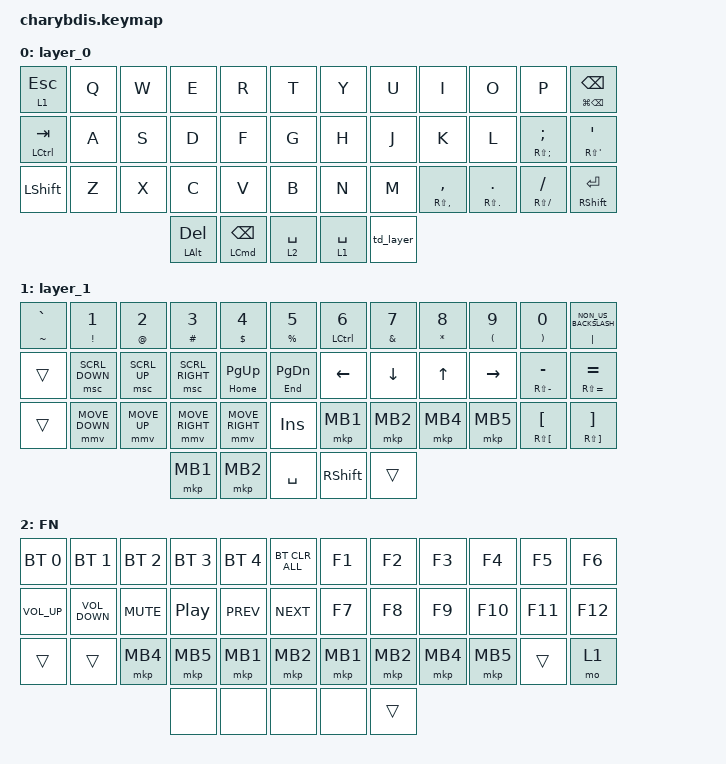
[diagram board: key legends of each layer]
#include <behaviors.dtsi>
#include <dt-bindings/zmk/bt.h>
#include <dt-bindings/zmk/keys.h>
#include <dt-bindings/zmk/pointing.h>
#include <dt-bindings/zmk/rgb.h>

&lt {
    tapping-term-ms = <200>;
    flavor = "balanced";
    quick-tap-ms = <150>;
};

&mt {
    tapping-term-ms = <220>;
    flavor = "tap-preferred";
};

/ {
    macros {
        To1_macro: To1_macro {
            compatible = "zmk,behavior-macro";
            label = "To1_macro";
            #binding-cells = <0>;
            bindings = <&rgb_ug RGB_EFF &rgb_ug RGB_COLOR_HSB(128,100,50) &to 1>;
        };

        To0_macro: To0_macro {
            compatible = "zmk,behavior-macro";
            label = "To0_macro";
            #binding-cells = <0>;
            bindings = <&rgb_ug RGB_EFR &to 0>;
        };

        To2_macro: To2_macro {
            compatible = "zmk,behavior-macro";
            label = "To2_macro";
            #binding-cells = <0>;
            bindings =
                <&to 0>,
                <&macro_wait_time 30>,
                <&rgb_ug RGB_COLOR_HSB(250,100,50)>;
        };
    };

    behaviors {
        td_layer: tap-dance-layer {
            compatible = "zmk,behavior-tap-dance";
            label = "TAP-DANCE-LAYER";
            #binding-cells = <0>;
            bindings = <&to 0>, <&to 1>, <&to 2>;

            tapping-term-ms = <200>;
        };

        hm: homerow_mods {
            compatible = "zmk,behavior-hold-tap";
            label = "HOMEROW_MODS";
            bindings = <&kp>, <&kp>;

            #binding-cells = <2>;
            tapping-term-ms = <200>;
            quick-tap-ms = <130>;
            require-prior-idle-ms = <120>;
            flavor = "tap-preferred";
        };
    };

    keymap {
        compatible = "zmk,keymap";

        layer_0 {
            bindings = <
&lt 1 ESC       &kp Q  &kp W  &kp E             &kp R                       &kp T          &kp Y        &kp U      &kp I                &kp O                  &kp P                        &mt LG(BSPC) BACKSPACE
&mt LCTRL TAB   &kp A  &kp S  &kp D             &kp F                       &kp G          &kp H        &kp J      &kp K                &kp L                  &mt RS(SEMICOLON) SEMICOLON  &mt RS(SQT) SQT
&kp LEFT_SHIFT  &kp Z  &kp X  &kp C             &kp V                       &kp B          &kp N        &kp M      &mt RS(COMMA) COMMA  &mt RS(PERIOD) PERIOD  &mt RS(SLASH) SLASH          &mt RIGHT_SHIFT ENTER
                              &mt LEFT_ALT DEL  &mt LEFT_COMMAND BACKSPACE  &lt 2 SPACE    &lt 1 SPACE  &td_layer
            >;
        };

        layer_1 {
            bindings = <
&mt TILDE GRAVE  &mt EXCLAMATION NUMBER_1  &mt AT_SIGN NUMBER_2  &mt HASH NUMBER_3  &mt DOLLAR NUMBER_4  &mt PERCENT NUMBER_5    &mt LCTRL NUMBER_6  &mt AMPERSAND NUMBER_7  &mt ASTERISK NUMBER_8  &mt LEFT_PARENTHESIS NUMBER_9  &mt RIGHT_PARENTHESIS NUMBER_0     &mt PIPE NON_US_BACKSLASH
&trans           &msc SCRL_DOWN            &msc SCRL_UP          &msc SCRL_RIGHT    &mt HOME PAGE_UP     &mt END PAGE_DOWN       &kp LEFT            &kp DOWN_ARROW          &kp UP_ARROW           &kp RIGHT_ARROW                &mt RS(MINUS) MINUS                &mt RS(EQUAL) EQUAL
&trans           &mmv MOVE_DOWN            &mmv MOVE_UP          &mmv MOVE_RIGHT    &mmv MOVE_RIGHT      &kp INS                 &mkp MB1            &mkp MB2                &mkp MB4               &mkp MB5                       &mt RS(LEFT_BRACKET) LEFT_BRACKET  &mt RS(RIGHT_BRACKET) RIGHT_BRACKET
                                                                 &mkp MB1           &mkp MB2             &kp SPACE               &kp RIGHT_SHIFT     &trans
            >;
        };

        layer_2 {
            bindings = <
&bt BT_SEL 0     &bt BT_SEL 1       &bt BT_SEL 2  &bt BT_SEL 3      &bt BT_SEL 4  &bt BT_CLR_ALL    &kp F1    &kp F2    &kp F3    &kp F4    &kp F5   &kp F6
&kp C_VOLUME_UP  &kp C_VOLUME_DOWN  &kp C_MUTE    &kp C_PLAY_PAUSE  &kp C_PREV    &kp C_NEXT        &kp F7    &kp F8    &kp F9    &kp F10   &kp F11  &kp F12
&trans           &trans             &mkp MB4      &mkp MB5          &mkp MB1      &mkp MB2          &mkp MB1  &mkp MB2  &mkp MB4  &mkp MB5  &trans   &mo 1
                                                  &none             &none         &none             &none     &trans
            >;

            label = "FN";
        };

        /* layer_2 {
            bindings = <
&none  &none   &none    &none   &none         &none         &kp N1         &none         &none     &none  &none   &to 0
&none  &none   &none    &none   &none         &none         &none         &none          &rgb_ug RGB_BRD &rgb_ug RGB_BRI  &rgb_ug RGB_EFF   &rgb_ug RGB_TOG
&none  &none   &none    &none   &none         &none         &none         &mkp LCLK     &mkp RCLK  &none  &none   &none
&none  &none   &none    &none   &bt BT_NXT  &bt BT_CLR    &none         &none         &none     &none  &none   &none
                                   &none         &none         &none         &none         &none
                                                 &none         &none         &none
            >;
       
            
        };

       Mouse {
            bindings = <
&none        &none         &none         &none         &none      &none         &none       &none      &none         &none         &none         &none
&none        &bt BT_SEL 0  &bt BT_SEL 1  &bt BT_SEL 3  &none      &bt BT_CLR    &bt BT_CLR  &none      &bt BT_SEL 2  &bt BT_SEL 1  &bt BT_SEL 0  &none
&none        &trans        &trans        &mkp MCLK     &trans     &none         &none       &trans     &mkp MCLK     &trans        &trans        &none
&bootloader  &trans        &mkp RCLK     &mo 4         &mkp LCLK  &mo 5         &mo 5       &mkp LCLK  &mo 4         &mkp RCLK     &trans        &bootloader
                                         &mo 5         &mkp LCLK  &mkp RCLK     &mkp RCLK   &mkp LCLK
                                                       &none      &trans        &trans
            >;

            
        };

        layer_4 {
            bindings = <
&trans  &trans  &trans     &trans     &trans     &trans       &trans     &trans     &trans     &trans     &trans  &trans
&trans  &trans  &trans     &trans     &trans     &trans       &trans     &trans     &trans     &trans     &trans  &trans
&trans  &trans  &trans     &mkp MCLK  &trans     &trans       &trans     &trans     &mkp MCLK  &trans     &trans  &trans
&trans  &trans  &mkp RCLK  &trans     &mkp LCLK  &trans       &trans     &mkp LCLK  &trans     &mkp RCLK  &trans  &trans
                           &trans     &mkp LCLK  &mkp RCLK    &mkp RCLK  &mkp LCLK
                                      &trans     &trans       &trans
            >;
                
                
               
        };

        layer_5 {
            bindings = <
&trans  &trans  &trans     &trans     &trans     &trans       &trans     &trans     &trans     &trans     &trans  &trans
&trans  &trans  &trans     &trans     &trans     &trans       &trans     &trans     &trans     &trans     &trans  &trans
&trans  &trans  &trans     &mkp MCLK  &trans     &trans       &trans     &trans     &mkp MCLK  &trans     &trans  &trans
&trans  &trans  &mkp RCLK  &trans     &mkp LCLK  &trans       &trans     &mkp LCLK  &trans     &mkp RCLK  &trans  &trans
                           &trans     &mkp LCLK  &mkp RCLK    &mkp RCLK  &mkp LCLK
                                      &trans     &trans       &trans
            >;
                
                
        };*/
    };
};
